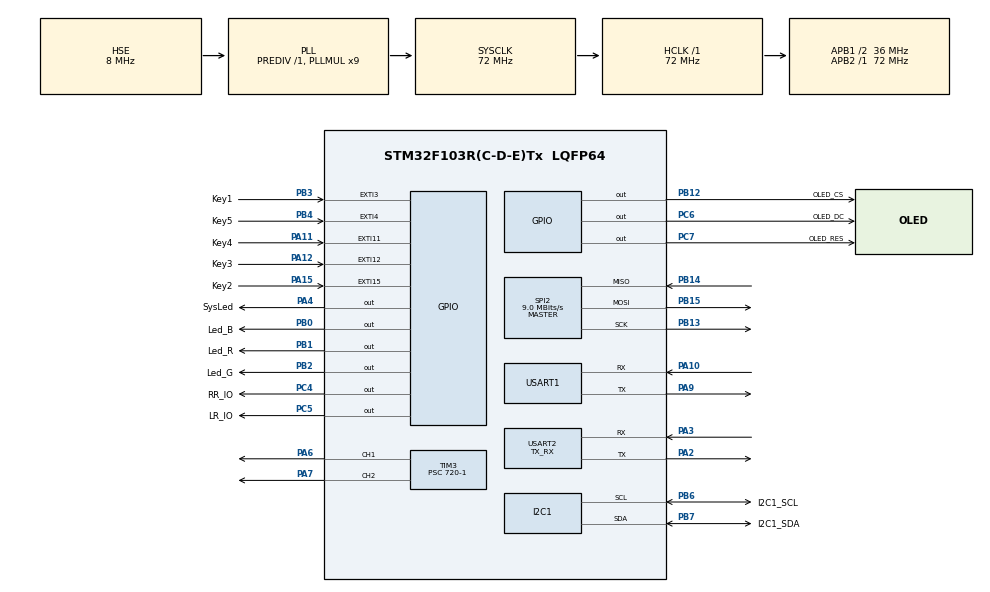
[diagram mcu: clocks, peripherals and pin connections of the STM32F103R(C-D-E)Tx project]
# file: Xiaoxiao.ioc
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I2C1.I2C_Mode=I2C_Fast
Mcu.Family=STM32F1
Mcu.Name=STM32F103R(C-D-E)Tx
Mcu.Package=LQFP64
NVIC.PriorityGroup=NVIC_PRIORITYGROUP_4
NVIC.TIM3_IRQn=true\:0\:0\:false\:false\:true\:true\:true\:true
NVIC.TIM4_IRQn=true\:0\:0\:false\:false\:true\:true\:true\:true
NVIC.USART2_IRQn=true\:0\:0\:false\:false\:true\:true\:true\:true
PA10.Mode=Asynchronous
PA10.Signal=USART1_RX
PA11.GPIO_Label=Key4
PA11.GPIO_ModeDefaultEXTI=GPIO_MODE_IT_FALLING
PA11.Signal=GPXTI11
PA12.GPIO_Label=Key3
PA12.GPIO_ModeDefaultEXTI=GPIO_MODE_IT_FALLING
PA12.Signal=GPXTI12
PA13.Mode=Serial_Wire
PA13.Signal=SYS_JTMS-SWDIO
PA14.Mode=Serial_Wire
PA14.Signal=SYS_JTCK-SWCLK
PA15.GPIO_Label=Key2
PA15.GPIO_ModeDefaultEXTI=GPIO_MODE_IT_FALLING
PA15.Signal=GPXTI15
PA2.Mode=Asynchronous
PA2.Signal=USART2_TX
PA3.Mode=Asynchronous
PA3.Signal=USART2_RX
PA4.GPIO_Label=SysLed
PA4.PinState=GPIO_PIN_SET
PA4.Signal=GPIO_Output
PA6.Signal=S_TIM3_CH1
PA7.Signal=S_TIM3_CH2
PA9.Mode=Asynchronous
PA9.Signal=USART1_TX
PB0.GPIO_Label=Led_B
PB0.GPIO_Speed=GPIO_SPEED_FREQ_HIGH
PB0.Signal=GPIO_Output
PB1.GPIO_Label=Led_R
PB1.GPIO_Speed=GPIO_SPEED_FREQ_HIGH
PB1.Signal=GPIO_Output
PB12.GPIO_Label=OLED_CS
PB12.GPIO_Speed=GPIO_SPEED_FREQ_HIGH
PB12.PinState=GPIO_PIN_SET
PB12.Signal=GPIO_Output
PB13.Mode=Full_Duplex_Master
PB13.Signal=SPI2_SCK
PB14.Mode=Full_Duplex_Master
PB14.Signal=SPI2_MISO
PB15.Mode=Full_Duplex_Master
PB15.Signal=SPI2_MOSI
PB2.GPIO_Label=Led_G
PB2.GPIO_Speed=GPIO_SPEED_FREQ_HIGH
PB2.Signal=GPIO_Output
PB3.GPIO_Label=Key1
PB3.GPIO_ModeDefaultEXTI=GPIO_MODE_IT_FALLING
PB3.Signal=GPXTI3
PB4.GPIO_Label=Key5
PB4.GPIO_ModeDefaultEXTI=GPIO_MODE_IT_FALLING
PB4.Signal=GPXTI4
PB6.GPIO_Label=I2C1_SCL
PB6.Mode=I2C
PB6.Signal=I2C1_SCL
PB7.GPIO_Label=I2C1_SDA
PB7.Mode=I2C
PB7.Signal=I2C1_SDA
PC4.GPIO_Label=RR_IO
PC4.GPIO_Speed=GPIO_SPEED_FREQ_HIGH
PC4.PinState=GPIO_PIN_RESET
PC4.Signal=GPIO_Output
PC5.GPIO_Label=LR_IO
PC5.GPIO_Speed=GPIO_SPEED_FREQ_HIGH
PC5.Signal=GPIO_Output
PC6.GPIO_Label=OLED_DC
PC6.GPIO_Speed=GPIO_SPEED_FREQ_HIGH
PC6.Signal=GPIO_Output
PC7.GPIO_Label=OLED_RES
PC7.GPIO_Speed=GPIO_SPEED_FREQ_HIGH
PC7.PinState=GPIO_PIN_SET
PC7.Signal=GPIO_Output
PD0-OSC_IN.Mode=HSE-External-Oscillator
PD0-OSC_IN.Signal=RCC_OSC_IN
PD1-OSC_OUT.Mode=HSE-External-Oscillator
PD1-OSC_OUT.Signal=RCC_OSC_OUT
ProjectManager.HeapSize=0x200
ProjectManager.StackSize=0x400
ProjectManager.TargetToolchain=STM32CubeIDE
RCC.AHBFreq_Value=72000000
RCC.APB1CLKDivider=RCC_HCLK_DIV2
RCC.APB1Freq_Value=36000000
RCC.APB1TimFreq_Value=72000000
RCC.APB2Freq_Value=72000000
RCC.APB2TimFreq_Value=72000000
RCC.HCLKFreq_Value=72000000
RCC.PLLMUL=RCC_PLL_MUL9
RCC.PLLSourceVirtual=RCC_PLLSOURCE_HSE
RCC.SYSCLKFreq_VALUE=72000000
RCC.SYSCLKSource=RCC_SYSCLKSOURCE_PLLCLK
RCC.USBFreq_Value=72000000
SH.S_TIM3_CH1.0=TIM3_CH1,PWM Generation1 CH1
SH.S_TIM3_CH2.0=TIM3_CH2,PWM Generation2 CH2
SPI2.BaudRatePrescaler=SPI_BAUDRATEPRESCALER_4
SPI2.CLKPhase=SPI_PHASE_2EDGE
SPI2.CLKPolarity=SPI_POLARITY_HIGH
SPI2.CalculateBaudRate=9.0 MBits/s
SPI2.Direction=SPI_DIRECTION_2LINES
SPI2.Mode=SPI_MODE_MASTER
SPI2.VirtualType=VM_MASTER
TIM3.Channel-PWM\ Generation1\ CH1=TIM_CHANNEL_1
TIM3.Channel-PWM\ Generation2\ CH2=TIM_CHANNEL_2
TIM3.Channel-PWM\ Generation3\ No\ Output=TIM_CHANNEL_3
TIM3.Channel-PWM\ Generation4\ No\ Output=TIM_CHANNEL_4
TIM3.OCMode_PWM-PWM\ Generation1\ CH1=TIM_OCMODE_PWM2
TIM3.OCMode_PWM-PWM\ Generation2\ CH2=TIM_OCMODE_PWM2
TIM3.OCMode_PWM-PWM\ Generation3\ No\ Output=TIM_OCMODE_PWM2
TIM3.OCMode_PWM-PWM\ Generation4\ No\ Output=TIM_OCMODE_PWM2
TIM3.Period=2000-1
TIM3.Prescaler=720-1
TIM3.Pulse-PWM\ Generation1\ CH1=150
TIM3.Pulse-PWM\ Generation2\ CH2=150
TIM3.Pulse-PWM\ Generation3\ No\ Output=150
TIM3.Pulse-PWM\ Generation4\ No\ Output=150
TIM4.Channel-PWM\ Generation1\ No\ Output=TIM_CHANNEL_1
TIM4.Channel-PWM\ Generation2\ No\ Output=TIM_CHANNEL_2
TIM4.Channel-PWM\ Generation3\ No\ Output=TIM_CHANNEL_3
TIM4.Period=256-1
TIM4.Prescaler=288-1
TIM6.Period=1000 -1
TIM6.Prescaler=720 -1
TIM7.Period=1000-1
TIM7.Prescaler=720 -1
USART1.VirtualMode=VM_ASYNC
USART2.Mode=MODE_TX_RX
USART2.VirtualMode=VM_ASYNC
VP_TIM3_VS_ClockSourceINT.Mode=Internal
VP_TIM3_VS_no_output3.Mode=PWM Generation3 No Output
VP_TIM3_VS_no_output4.Mode=PWM Generation4 No Output
VP_TIM4_VS_ClockSourceINT.Mode=Internal
VP_TIM4_VS_no_output1.Mode=PWM Generation1 No Output
VP_TIM4_VS_no_output2.Mode=PWM Generation2 No Output
VP_TIM4_VS_no_output3.Mode=PWM Generation3 No Output
VP_TIM6_VS_ClockSourceINT.Mode=Enable_Timer
VP_TIM7_VS_ClockSourceINT.Mode=Enable_Timer
board=custom

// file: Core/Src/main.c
/* USER CODE BEGIN Header */
/**
  ******************************************************************************
  * @file           : main.c
  * @brief          : Main program body
  ******************************************************************************
  * @attention
  *
  * Copyright (c) 2026 STMicroelectronics.
  * All rights reserved.
  *
  * This software is licensed under terms that can be found in the LICENSE file
  * in the root directory of this software component.
  * If no LICENSE file comes with this software, it is provided AS-IS.
  *
  ******************************************************************************
  */
/* USER CODE END Header */
#include "main.h"
#include "i2c.h"
#include "spi.h"
#include "tim.h"
#include "usart.h"
#include "gpio.h"

/* USER CODE BEGIN Includes */
#include <stdio.h>
#include "servo.h"
#include "DogAction.h"
#include "uart.h"
#include "key.h"
#include "led.h"
#include "display.h"
#include "AHT20.H"
/* USER CODE END Includes */

/* USER CODE BEGIN PD */
#define SERVOR_PERIOD 200
/* USER CODE END PD */

/* USER CODE BEGIN PV */
uint8_t version[] = "Pat Dog V1";
/* USER CODE END PV */

void SystemClock_Config(void);

/* USER CODE BEGIN 0 */
int fputc(int ch, FILE *f)
{
  HAL_UART_Transmit(&huart1, (uint8_t*)&ch, 1, 1000);
  return ch;
}

void printBuff(uint8_t* buff, uint16_t len)
{
  uint8_t tmpBuff[64];
  uint8_t* pBuff = tmpBuff;
  uint16_t i;
  for(i = len; i != 0; i--, buff++, pBuff += 3)
  {
    sprintf((char*)pBuff, "%02X ", *buff);
  }
  printf("\nBuff %d Bytes, HEX:\n%s\n", len, tmpBuff);
}
/* USER CODE END 0 */

int main(void)
{

  /* MCU Configuration--------------------------------------------------------*/

  /* Reset of all peripherals, Initializes the Flash interface and the Systick. */
  HAL_Init();

  /* Configure the system clock */
  SystemClock_Config();

  /* Initialize all configured peripherals */
  MX_GPIO_Init();
  MX_TIM3_Init();
  MX_SPI2_Init();
  MX_USART2_UART_Init();
  MX_USART1_UART_Init();
  MX_I2C1_Init();
  MX_TIM4_Init();
  MX_TIM6_Init();
  MX_TIM7_Init();
  /* USER CODE BEGIN 2 */
  printf("\n%s\n", version);
  printf("%s, %s\n", __DATE__, __TIME__);
  uart_rxMonitor();
  uart_debugMonitor(); //For Debug Only
  led_rgb_Init();
//	led_rgb_test();
  AHT20_Init();
  while(AHT20_Read() != 0);  //Reading AHT20 Datas
  display_init();
  display_welcom();
  Servo_Init();
//	Servo_Test(); //Servo Test for Debug
  Action_Hello();
  printf("Waiting Command Now:\n");
  /* USER CODE END 2 */

  /* Infinite loop */
  /* USER CODE BEGIN WHILE */
  while (1)
  {
	  HAL_GPIO_TogglePin(SysLed_GPIO_Port, SysLed_Pin);
	  HAL_Delay(500);//测试板子小灯能否正常亮
	  DogAction();
    /* USER CODE END WHILE */

  }
}

void SystemClock_Config(void)
{
  RCC_OscInitTypeDef RCC_OscInitStruct = {0};
  RCC_ClkInitTypeDef RCC_ClkInitStruct = {0};

  /** Initializes the RCC Oscillators according to the specified parameters
  * in the RCC_OscInitTypeDef structure.
  */
  RCC_OscInitStruct.OscillatorType = RCC_OSCILLATORTYPE_HSE;
  RCC_OscInitStruct.HSEState = RCC_HSE_ON;
  RCC_OscInitStruct.HSEPredivValue = RCC_HSE_PREDIV_DIV1;
  RCC_OscInitStruct.HSIState = RCC_HSI_ON;
  RCC_OscInitStruct.PLL.PLLState = RCC_PLL_ON;
  RCC_OscInitStruct.PLL.PLLSource = RCC_PLLSOURCE_HSE;
  RCC_OscInitStruct.PLL.PLLMUL = RCC_PLL_MUL9;
  if (HAL_RCC_OscConfig(&RCC_OscInitStruct) != HAL_OK)
  {
    Error_Handler();
  }

  /** Initializes the CPU, AHB and APB buses clocks
  */
  RCC_ClkInitStruct.ClockType = RCC_CLOCKTYPE_HCLK|RCC_CLOCKTYPE_SYSCLK
                              |RCC_CLOCKTYPE_PCLK1|RCC_CLOCKTYPE_PCLK2;
  RCC_ClkInitStruct.SYSCLKSource = RCC_SYSCLKSOURCE_PLLCLK;
  RCC_ClkInitStruct.AHBCLKDivider = RCC_SYSCLK_DIV1;
  RCC_ClkInitStruct.APB1CLKDivider = RCC_HCLK_DIV2;
  RCC_ClkInitStruct.APB2CLKDivider = RCC_HCLK_DIV1;

  if (HAL_RCC_ClockConfig(&RCC_ClkInitStruct, FLASH_LATENCY_2) != HAL_OK)
  {
    Error_Handler();
  }
}

/* USER CODE BEGIN 4 */
void mySysTick_Callback(void)
{
  key_debounce();
}

/* USER CODE END 4 */

void Error_Handler(void)
{
  __disable_irq();
  while (1)
  {
  }
}
